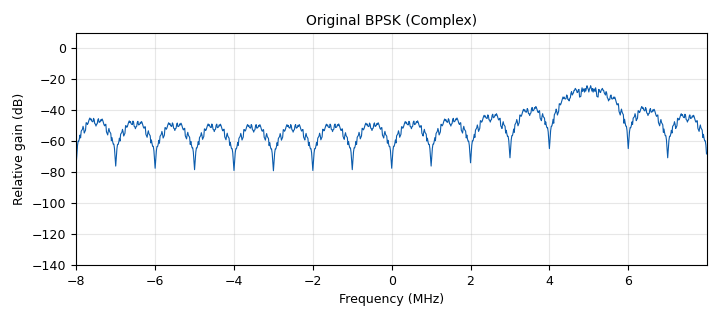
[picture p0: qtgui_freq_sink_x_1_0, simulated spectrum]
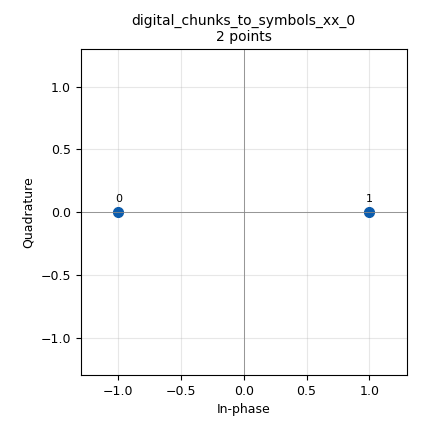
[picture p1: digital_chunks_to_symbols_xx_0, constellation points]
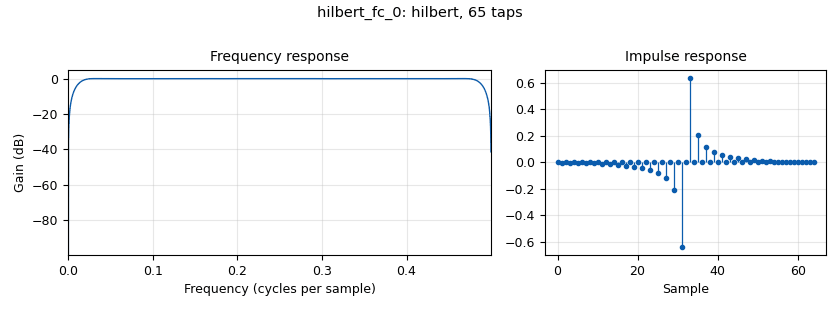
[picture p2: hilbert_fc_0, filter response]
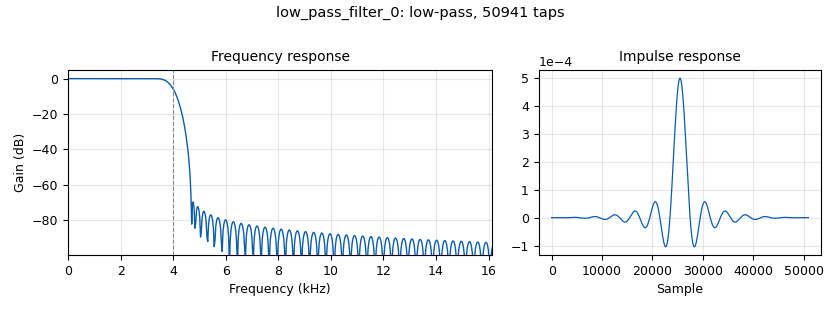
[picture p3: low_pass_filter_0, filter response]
<?xml version='1.0' encoding='utf-8'?>
<?grc format='1' created='3.7.9'?>
<flow_graph>
<block>
<key>options</key>
<param><key>id</key><value>AMSAT_flowgraph</value></param>
<param><key>category</key><value>Custom</value></param>
<param><key>generate_options</key><value>qt_gui</value></param>
</block>
<block>
<key>variable</key>
<param><key>id</key><value>am_cent_freq</value></param>
<param><key>value</key><value>7500000</value></param>
</block>
<block>
<key>variable_qtgui_range</key>
<param><key>id</key><value>amplitude</value></param>
<param><key>value</key><value>5</value></param>
<param><key>gui_hint</key><value>4,2,1,2</value></param>
<param><key>orient</key><value>Qt.Horizontal</value></param>
<param><key>start</key><value>1</value></param>
<param><key>step</key><value>0.1</value></param>
<param><key>stop</key><value>10</value></param>
</block>
<block>
<key>variable_qtgui_chooser</key>
<param><key>id</key><value>audio_choice</value></param>
<param><key>value</key><value>1</value></param>
<param><key>label0</key><value>Original</value></param>
<param><key>label1</key><value>Distorted</value></param>
<param><key>label2</key><value>Nothing</value></param>
<param><key>label</key><value>Audio Output</value></param>
<param><key>num_opts</key><value>3</value></param>
<param><key>option0</key><value>0</value></param>
<param><key>option1</key><value>1</value></param>
<param><key>option2</key><value>2</value></param>
<param><key>type</key><value>int</value></param>
</block>
<block>
<key>variable</key>
<param><key>id</key><value>bpsk_cent_freq</value></param>
<param><key>value</key><value>5000000</value></param>
</block>
<block>
<key>variable_qtgui_range</key>
<param><key>id</key><value>noise_var</value></param>
<param><key>value</key><value>0</value></param>
<param><key>gui_hint</key><value>4,0,1,2</value></param>
<param><key>orient</key><value>Qt.Horizontal</value></param>
<param><key>start</key><value>0</value></param>
<param><key>step</key><value>0.001</value></param>
<param><key>stop</key><value>1</value></param>
</block>
<block>
<key>variable</key>
<param><key>id</key><value>samp_rate</value></param>
<param><key>value</key><value>16000000</value></param>
</block>
<block>
<key>variable</key>
<param><key>id</key><value>samps_per_symb</value></param>
<param><key>value</key><value>samp_rate / symb_rate</value></param>
</block>
<block>
<key>variable</key>
<param><key>id</key><value>symb_rate</value></param>
<param><key>value</key><value>1000000</value></param>
</block>
<block>
<key>analog_noise_source_x</key>
<param><key>id</key><value>analog_noise_source_x_0</value></param>
<param><key>amp</key><value>noise_var</value></param>
<param><key>noise_type</key><value>analog.GR_GAUSSIAN</value></param>
<param><key>type</key><value>float</value></param>
<param><key>seed</key><value>0</value></param>
</block>
<block>
<key>analog_rail_ff</key>
<param><key>id</key><value>analog_rail_ff_0</value></param>
<param><key>hi</key><value>0.99999</value></param>
<param><key>lo</key><value>-0.99999</value></param>
</block>
<block>
<key>analog_random_source_x</key>
<param><key>id</key><value>analog_random_source_x_0</value></param>
<param><key>max</key><value>256</value></param>
<param><key>min</key><value>0</value></param>
<param><key>num_samps</key><value>1000000</value></param>
<param><key>type</key><value>byte</value></param>
<param><key>repeat</key><value>True</value></param>
</block>
<block>
<key>analog_sig_source_x</key>
<param><key>id</key><value>analog_sig_source_x_0</value></param>
<param><key>amp</key><value>1</value></param>
<param><key>freq</key><value>-am_cent_freq</value></param>
<param><key>offset</key><value>0</value></param>
<param><key>type</key><value>complex</value></param>
<param><key>samp_rate</key><value>samp_rate</value></param>
<param><key>waveform</key><value>analog.GR_COS_WAVE</value></param>
</block>
<block>
<key>analog_sig_source_x</key>
<param><key>id</key><value>analog_sig_source_x_1</value></param>
<param><key>amp</key><value>1</value></param>
<param><key>freq</key><value>bpsk_cent_freq</value></param>
<param><key>offset</key><value>0</value></param>
<param><key>type</key><value>complex</value></param>
<param><key>samp_rate</key><value>samp_rate</value></param>
<param><key>waveform</key><value>analog.GR_COS_WAVE</value></param>
</block>
<block>
<key>analog_sig_source_x</key>
<param><key>id</key><value>analog_sig_source_x_1_1</value></param>
<param><key>amp</key><value>0.2</value></param>
<param><key>freq</key><value>am_cent_freq</value></param>
<param><key>offset</key><value>0</value></param>
<param><key>type</key><value>float</value></param>
<param><key>samp_rate</key><value>samp_rate</value></param>
<param><key>waveform</key><value>analog.GR_COS_WAVE</value></param>
</block>
<block>
<key>audio_sink</key>
<param><key>id</key><value>audio_sink_0</value></param>
<param><key>samp_rate</key><value>16000</value></param>
</block>
<block>
<key>blks2_selector</key>
<param><key>id</key><value>blks2_selector_0</value></param>
<param><key>input_index</key><value>audio_choice</value></param>
<param><key>num_inputs</key><value>3</value></param>
<param><key>num_outputs</key><value>1</value></param>
<param><key>output_index</key><value>0</value></param>
<param><key>type</key><value>float</value></param>
<param><key>vlen</key><value>1</value></param>
</block>
<block>
<key>blocks_add_const_vxx</key>
<param><key>id</key><value>blocks_add_const_vxx_0</value></param>
<param><key>const</key><value>1</value></param>
<param><key>type</key><value>float</value></param>
</block>
<block>
<key>blocks_add_xx</key>
<param><key>id</key><value>blocks_add_xx_0</value></param>
<param><key>type</key><value>float</value></param>
</block>
<block>
<key>blocks_add_xx</key>
<param><key>id</key><value>blocks_add_xx_1</value></param>
<param><key>type</key><value>float</value></param>
</block>
<block>
<key>blocks_complex_to_mag_squared</key>
<param><key>id</key><value>blocks_complex_to_mag_squared_0</value></param>
</block>
<block>
<key>blocks_complex_to_real</key>
<param><key>id</key><value>blocks_complex_to_real_0</value></param>
</block>
<block>
<key>blocks_multiply_const_vxx</key>
<param><key>id</key><value>blocks_multiply_const_vxx_0</value></param>
<param><key>const</key><value>1</value></param>
<param><key>type</key><value>float</value></param>
</block>
<block>
<key>blocks_multiply_const_vxx</key>
<param><key>id</key><value>blocks_multiply_const_vxx_1</value></param>
<param><key>const</key><value>amplitude</value></param>
<param><key>type</key><value>float</value></param>
</block>
<block>
<key>blocks_multiply_xx</key>
<param><key>id</key><value>blocks_multiply_xx_0</value></param>
<param><key>type</key><value>complex</value></param>
</block>
<block>
<key>blocks_multiply_xx</key>
<param><key>id</key><value>blocks_multiply_xx_1</value></param>
<param><key>type</key><value>complex</value></param>
</block>
<block>
<key>blocks_multiply_xx</key>
<param><key>id</key><value>blocks_multiply_xx_2</value></param>
<param><key>type</key><value>float</value></param>
</block>
<block>
<key>blocks_null_source</key>
<param><key>id</key><value>blocks_null_source_0</value></param>
<param><key>bus_conns</key><value>[[0,],]</value></param>
<param><key>type</key><value>float</value></param>
</block>
<block>
<key>blocks_packed_to_unpacked_xx</key>
<param><key>id</key><value>blocks_packed_to_unpacked_xx_0</value></param>
<param><key>bits_per_chunk</key><value>1</value></param>
<param><key>endianness</key><value>gr.GR_MSB_FIRST</value></param>
<param><key>type</key><value>byte</value></param>
</block>
<block>
<key>blocks_repeat</key>
<param><key>id</key><value>blocks_repeat_0</value></param>
<param><key>interp</key><value>samps_per_symb</value></param>
<param><key>type</key><value>complex</value></param>
</block>
<block>
<key>blocks_throttle</key>
<param><key>id</key><value>blocks_throttle_0</value></param>
<param><key>samples_per_second</key><value>samp_rate</value></param>
<param><key>type</key><value>float</value></param>
</block>
<block>
<key>blocks_wavfile_source</key>
<param><key>id</key><value>blocks_wavfile_source_0</value></param>
<param><key>file</key><value>/home/wcheadley/Desktop/AMSAT/8k16bitpcm.wav</value></param>
<param><key>repeat</key><value>True</value></param>
</block>
<block>
<key>dc_blocker_xx</key>
<param><key>id</key><value>dc_blocker_xx_0</value></param>
<param><key>length</key><value>128</value></param>
<param><key>long_form</key><value>True</value></param>
<param><key>type</key><value>ff</value></param>
</block>
<block>
<key>digital_chunks_to_symbols_xx</key>
<param><key>id</key><value>digital_chunks_to_symbols_xx_0</value></param>
<param><key>dimension</key><value>1</value></param>
<param><key>in_type</key><value>byte</value></param>
<param><key>out_type</key><value>complex</value></param>
<param><key>symbol_table</key><value>[-1.0,1.0]</value></param>
</block>
<block>
<key>hilbert_fc</key>
<param><key>id</key><value>hilbert_fc_0</value></param>
<param><key>num_taps</key><value>64</value></param>
<param><key>win</key><value>firdes.WIN_HAMMING</value></param>
</block>
<block>
<key>low_pass_filter</key>
<param><key>id</key><value>low_pass_filter_0</value></param>
<param><key>beta</key><value>6.76</value></param>
<param><key>cutoff_freq</key><value>4000</value></param>
<param><key>decim</key><value>1000</value></param>
<param><key>type</key><value>fir_filter_ccf</value></param>
<param><key>gain</key><value>1</value></param>
<param><key>samp_rate</key><value>samp_rate</value></param>
<param><key>width</key><value>1000</value></param>
<param><key>win</key><value>firdes.WIN_KAISER</value></param>
</block>
<block>
<key>qtgui_freq_sink_x</key>
<param><key>id</key><value>qtgui_freq_sink_x_0</value></param>
<param><key>bw</key><value>16000</value></param>
<param><key>fc</key><value>0</value></param>
<param><key>fftsize</key><value>1024</value></param>
<param><key>gui_hint</key><value>0,2,2,2</value></param>
<param><key>legend</key><value>False</value></param>
<param><key>name</key><value>"Original Voice (Real)"</value></param>
<param><key>showports</key><value>True</value></param>
<param><key>type</key><value>float</value></param>
<param><key>wintype</key><value>firdes.WIN_BLACKMAN_hARRIS</value></param>
<param><key>ymax</key><value>0</value></param>
<param><key>ymin</key><value>-200</value></param>
</block>
<block>
<key>qtgui_freq_sink_x</key>
<param><key>id</key><value>qtgui_freq_sink_x_1</value></param>
<param><key>average</key><value>0.2</value></param>
<param><key>bw</key><value>samp_rate</value></param>
<param><key>fc</key><value>0</value></param>
<param><key>fftsize</key><value>1024</value></param>
<param><key>gui_hint</key><value>2,0,2,2</value></param>
<param><key>legend</key><value>False</value></param>
<param><key>name</key><value>"Combined and Limited (Real)"</value></param>
<param><key>showports</key><value>True</value></param>
<param><key>type</key><value>float</value></param>
<param><key>wintype</key><value>firdes.WIN_BLACKMAN_hARRIS</value></param>
</block>
<block>
<key>qtgui_freq_sink_x</key>
<param><key>id</key><value>qtgui_freq_sink_x_1_0</value></param>
<param><key>average</key><value>0.05</value></param>
<param><key>bw</key><value>samp_rate</value></param>
<param><key>fc</key><value>0</value></param>
<param><key>fftsize</key><value>1024</value></param>
<param><key>gui_hint</key><value>0,0,2,2</value></param>
<param><key>legend</key><value>False</value></param>
<param><key>name</key><value>"Original BPSK (Complex)"</value></param>
<param><key>showports</key><value>True</value></param>
<param><key>type</key><value>complex</value></param>
<param><key>wintype</key><value>firdes.WIN_BLACKMAN_hARRIS</value></param>
</block>
<block>
<key>qtgui_freq_sink_x</key>
<param><key>id</key><value>qtgui_freq_sink_x_2</value></param>
<param><key>bw</key><value>samp_rate/1000</value></param>
<param><key>fc</key><value>0</value></param>
<param><key>fftsize</key><value>1024</value></param>
<param><key>gui_hint</key><value>2,2,2,2</value></param>
<param><key>legend</key><value>False</value></param>
<param><key>name</key><value>"Distorted Voice (Real)"</value></param>
<param><key>showports</key><value>True</value></param>
<param><key>type</key><value>float</value></param>
<param><key>wintype</key><value>firdes.WIN_BLACKMAN_hARRIS</value></param>
<param><key>ymax</key><value>0</value></param>
<param><key>ymin</key><value>-200</value></param>
</block>
<block>
<key>rational_resampler_xxx</key>
<param><key>id</key><value>rational_resampler_xxx_0</value></param>
<param><key>decim</key><value>1</value></param>
<param><key>interp</key><value>samp_rate / 8000</value></param>
<param><key>taps</key><value></value></param>
<param><key>type</key><value>fff</value></param>
</block>
<block>
<key>rational_resampler_xxx</key>
<param><key>id</key><value>rational_resampler_xxx_1</value></param>
<param><key>decim</key><value>1</value></param>
<param><key>interp</key><value>2</value></param>
<param><key>taps</key><value></value></param>
<param><key>type</key><value>fff</value></param>
</block>
<block>
<key>virtual_sink</key>
<param><key>id</key><value>virtual_sink_0</value></param>
<param><key>stream_id</key><value>audio</value></param>
</block>
<block>
<key>virtual_source</key>
<param><key>id</key><value>virtual_source_0</value></param>
<param><key>stream_id</key><value>audio</value></param>
</block>
<connection><source_block_id>analog_noise_source_x_0</source_block_id><sink_block_id>blocks_add_xx_1</sink_block_id><source_key>0</source_key><sink_key>0</sink_key></connection>
<connection><source_block_id>analog_rail_ff_0</source_block_id><sink_block_id>blocks_add_xx_1</sink_block_id><source_key>0</source_key><sink_key>1</sink_key></connection>
<connection><source_block_id>analog_random_source_x_0</source_block_id><sink_block_id>blocks_packed_to_unpacked_xx_0</sink_block_id><source_key>0</source_key><sink_key>0</sink_key></connection>
<connection><source_block_id>analog_sig_source_x_0</source_block_id><sink_block_id>blocks_multiply_xx_1</sink_block_id><source_key>0</source_key><sink_key>1</sink_key></connection>
<connection><source_block_id>analog_sig_source_x_1</source_block_id><sink_block_id>blocks_multiply_xx_0</sink_block_id><source_key>0</source_key><sink_key>1</sink_key></connection>
<connection><source_block_id>analog_sig_source_x_1_1</source_block_id><sink_block_id>blocks_multiply_xx_2</sink_block_id><source_key>0</source_key><sink_key>1</sink_key></connection>
<connection><source_block_id>blks2_selector_0</source_block_id><sink_block_id>audio_sink_0</sink_block_id><source_key>0</source_key><sink_key>0</sink_key></connection>
<connection><source_block_id>blocks_add_const_vxx_0</source_block_id><sink_block_id>blocks_multiply_xx_2</sink_block_id><source_key>0</source_key><sink_key>0</sink_key></connection>
<connection><source_block_id>blocks_add_xx_0</source_block_id><sink_block_id>blocks_throttle_0</sink_block_id><source_key>0</source_key><sink_key>0</sink_key></connection>
<connection><source_block_id>blocks_add_xx_1</source_block_id><sink_block_id>hilbert_fc_0</sink_block_id><source_key>0</source_key><sink_key>0</sink_key></connection>
<connection><source_block_id>blocks_add_xx_1</source_block_id><sink_block_id>qtgui_freq_sink_x_1</sink_block_id><source_key>0</source_key><sink_key>0</sink_key></connection>
<connection><source_block_id>blocks_complex_to_mag_squared_0</source_block_id><sink_block_id>dc_blocker_xx_0</sink_block_id><source_key>0</source_key><sink_key>0</sink_key></connection>
<connection><source_block_id>blocks_complex_to_real_0</source_block_id><sink_block_id>blocks_add_xx_0</sink_block_id><source_key>0</source_key><sink_key>0</sink_key></connection>
<connection><source_block_id>blocks_multiply_const_vxx_0</source_block_id><sink_block_id>blocks_add_const_vxx_0</sink_block_id><source_key>0</source_key><sink_key>0</sink_key></connection>
<connection><source_block_id>blocks_multiply_const_vxx_1</source_block_id><sink_block_id>blks2_selector_0</sink_block_id><source_key>0</source_key><sink_key>1</sink_key></connection>
<connection><source_block_id>blocks_multiply_xx_0</source_block_id><sink_block_id>blocks_complex_to_real_0</sink_block_id><source_key>0</source_key><sink_key>0</sink_key></connection>
<connection><source_block_id>blocks_multiply_xx_0</source_block_id><sink_block_id>qtgui_freq_sink_x_1_0</sink_block_id><source_key>0</source_key><sink_key>0</sink_key></connection>
<connection><source_block_id>blocks_multiply_xx_1</source_block_id><sink_block_id>low_pass_filter_0</sink_block_id><source_key>0</source_key><sink_key>0</sink_key></connection>
<connection><source_block_id>blocks_multiply_xx_2</source_block_id><sink_block_id>blocks_add_xx_0</sink_block_id><source_key>0</source_key><sink_key>1</sink_key></connection>
<connection><source_block_id>blocks_null_source_0</source_block_id><sink_block_id>blks2_selector_0</sink_block_id><source_key>0</source_key><sink_key>2</sink_key></connection>
<connection><source_block_id>blocks_packed_to_unpacked_xx_0</source_block_id><sink_block_id>digital_chunks_to_symbols_xx_0</sink_block_id><source_key>0</source_key><sink_key>0</sink_key></connection>
<connection><source_block_id>blocks_repeat_0</source_block_id><sink_block_id>blocks_multiply_xx_0</sink_block_id><source_key>0</source_key><sink_key>0</sink_key></connection>
<connection><source_block_id>blocks_throttle_0</source_block_id><sink_block_id>analog_rail_ff_0</sink_block_id><source_key>0</source_key><sink_key>0</sink_key></connection>
<connection><source_block_id>blocks_wavfile_source_0</source_block_id><sink_block_id>rational_resampler_xxx_0</sink_block_id><source_key>0</source_key><sink_key>0</sink_key></connection>
<connection><source_block_id>blocks_wavfile_source_0</source_block_id><sink_block_id>rational_resampler_xxx_1</sink_block_id><source_key>0</source_key><sink_key>0</sink_key></connection>
<connection><source_block_id>dc_blocker_xx_0</source_block_id><sink_block_id>blocks_multiply_const_vxx_1</sink_block_id><source_key>0</source_key><sink_key>0</sink_key></connection>
<connection><source_block_id>dc_blocker_xx_0</source_block_id><sink_block_id>qtgui_freq_sink_x_2</sink_block_id><source_key>0</source_key><sink_key>0</sink_key></connection>
<connection><source_block_id>digital_chunks_to_symbols_xx_0</source_block_id><sink_block_id>blocks_repeat_0</sink_block_id><source_key>0</source_key><sink_key>0</sink_key></connection>
<connection><source_block_id>hilbert_fc_0</source_block_id><sink_block_id>blocks_multiply_xx_1</sink_block_id><source_key>0</source_key><sink_key>0</sink_key></connection>
<connection><source_block_id>low_pass_filter_0</source_block_id><sink_block_id>blocks_complex_to_mag_squared_0</sink_block_id><source_key>0</source_key><sink_key>0</sink_key></connection>
<connection><source_block_id>rational_resampler_xxx_0</source_block_id><sink_block_id>blocks_multiply_const_vxx_0</sink_block_id><source_key>0</source_key><sink_key>0</sink_key></connection>
<connection><source_block_id>rational_resampler_xxx_1</source_block_id><sink_block_id>qtgui_freq_sink_x_0</sink_block_id><source_key>0</source_key><sink_key>0</sink_key></connection>
<connection><source_block_id>rational_resampler_xxx_1</source_block_id><sink_block_id>virtual_sink_0</sink_block_id><source_key>0</source_key><sink_key>0</sink_key></connection>
<connection><source_block_id>virtual_source_0</source_block_id><sink_block_id>blks2_selector_0</sink_block_id><source_key>0</source_key><sink_key>0</sink_key></connection>
</flow_graph>
